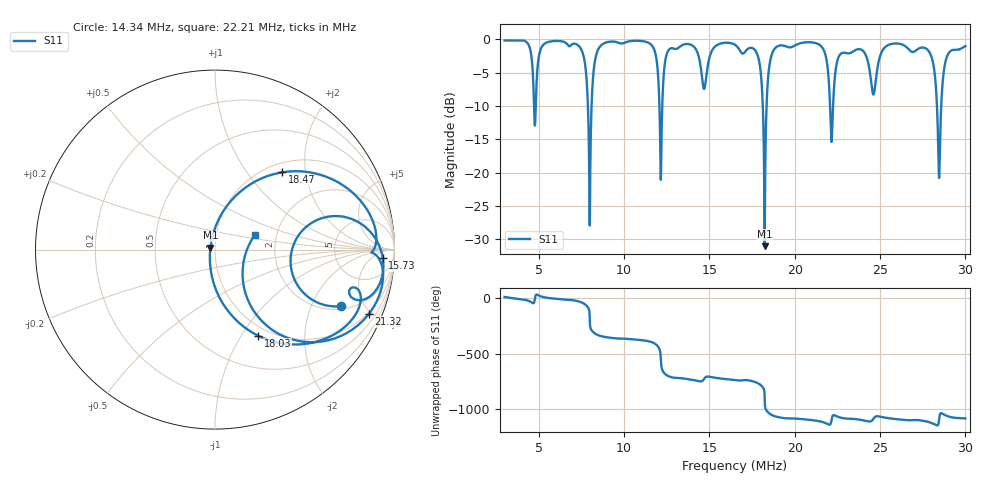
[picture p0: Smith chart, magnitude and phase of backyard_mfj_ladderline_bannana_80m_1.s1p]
! Touchstone file generated by AntScope2
# MHz Z RI R 50
! Format: Frequency Z-real Z-imaginary (normalized to 50 Ohm)
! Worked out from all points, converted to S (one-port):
!   2001 points, 3 MHz to 30 MHz, reference 50 ohm
!   lowest |S11| = -31.1 dB at 18.24 MHz (marker M1), VSWR 1.06, Z = 47.5 + j1.04 ohm
!   |S11| at or under -10 dB: 7.882 MHz to 8.095 MHz (213.4 kHz wide, 2.67 % of centre); 18.13 MHz to 18.35 MHz (221 kHz wide, 1.21 % of centre); 28.33 MHz to 28.58 MHz (248.8 kHz wide, 0.874 % of centre)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
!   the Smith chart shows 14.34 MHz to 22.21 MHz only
!   S11 on the Smith chart (normalised r, x): 14.34 MHz: 2.17, -3.35; 15.73 MHz: 19, -15; 18.03 MHz: 0.88, -1.18; 18.47 MHz: 1.17, +1.50; 21.32 MHz: 0.92, -4.82; 22.21 MHz: 1.54, +0.27
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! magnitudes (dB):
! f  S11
! 3 MHz  -0.2
! 4.377 MHz  -0.7
! 4.782 MHz  -12.9
! 6.375 MHz  -0.3
! 7.577 MHz  -2.0
! 7.995 MHz  -28.0
! 8.414 MHz  -1.9
! 9.75 MHz  -0.6
! 11.69 MHz  -1.2
! 12.15 MHz  -21.1
! 12.48 MHz  -2.4
! 13.12 MHz  -1.4
! 14.34 MHz  -2.3
! 15.73 MHz  -0.6
! 16.5 MHz  -0.8
! 18.03 MHz  -5.4
! 18.24 MHz  -31.1
! 18.47 MHz  -4.9
! 19.88 MHz  -1.1
! 21.32 MHz  -0.6
! 22.21 MHz  -12.5
! 23.25 MHz  -2.1
! 24.61 MHz  -8.3
! 26.62 MHz  -1.3
! 27.98 MHz  -2.4
! 28.46 MHz  -20.8
! 28.89 MHz  -2.8
! 30 MHz  -1.0
